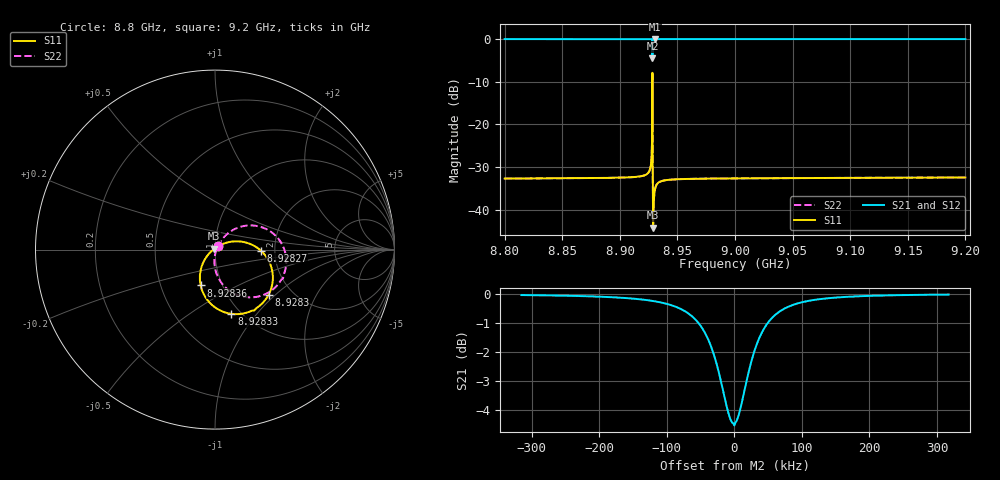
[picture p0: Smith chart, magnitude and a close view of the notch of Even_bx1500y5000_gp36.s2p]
! Sonnet Data File
! From: emgraph Version : 16.52
! From Project: Resonator2
! Data is De-embedded
! Data File Written: 10/04/2017 18:31:03
!< HDATE 10/04/2017 15:54:54
!< MDATE 10/04/2017 15:55:28
!< PARAMS
!< gap = 36.0
!< Length = 400.0
!< END PARAMS
# GHZ S MA R 50.00000
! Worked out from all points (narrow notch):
!   2193 points, 8.8 GHz to 9.2 GHz, reference 50 ohm
!   highest |S21| = 0.00 dB at 8.93055 GHz (marker M1); lowest = -4.5 dB at 8.92831 GHz (marker M2)
!   notch at M2: 4.5 dB deep, 53.9 kHz wide at half that depth
!   lowest |S11| = -44.2 dB at 8.92894 GHz (marker M3), VSWR 1.01, Z = 49.6 + j0.501 ohm
!   |S11| at or under -10 dB: start of sweep to 8.92828 GHz; 8.92834 GHz to end of sweep
!   |S22| runs from -42.4 to -7.7 dB; largest |S21 - S12| = 0
!   S11 on the Smith chart (normalised r, x): 8.8 GHz: 1.03, +0.04; 8.92827 GHz: 1.69, -0.02; 8.9283 GHz: 1.53, -0.91; 8.92833 GHz: 0.91, -0.75; 8.92836 GHz: 0.79, -0.33; 9.2 GHz: 1.03, +0.04
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8.8  0.02319 49.6  0.9997 -40.3  0.9997 -40.3  0.02319 49.9
!< P1 F=8.8 Eeff=(6.44890994 -2.9739e-5) Z0=(51.8068348 1.19496e-4) R=0.0 C=0.0
!< P2 F=8.8 Eeff=(6.44890994 -2.9739e-5) Z0=(51.8068348 1.19496e-4) R=0.0 C=0.0
8.86675  0.02344 49.2  0.9997 -40.6  0.9997 -40.6  0.02344 49.7
8.92475  0.02716 46.3  0.9996 -41.1  0.9996 -41.1  0.02718 51.4
8.927641  0.04378 38.9  0.9984 -42.1  0.9984 -42.1  0.04398 55.4
8.928077  0.08111 29.7  0.9916 -44.2  0.9916 -44.2  0.08198 54.7
8.928187  0.1284 21.1  0.9745 -46.9  0.9745 -46.9  0.1302 49.7
8.928266  0.2557 -1.3  0.8749 -53.4  0.8749 -53.4  0.2602 30.8
8.928304  0.3904 -40.0  0.6321 -49.8  0.6321 -49.8  0.3982 -6.0
8.928315  0.4033 -57.6  0.5927 -39.1  0.5927 -39.1  0.4115 -23.0
8.928327  0.3697 -75.6  0.6561 -29.2  0.6561 -29.2  0.3777 -40.4
8.928363  0.215 -111.8  0.8879 -28.2  0.8879 -28.2  0.2202 -74.3
8.928452  0.0771 -136.4  0.9821 -35.2  0.9821 -35.2  0.07969 -92.1
8.928623  0.0236 -154.8  0.9966 -38.2  0.9966 -38.2  0.02533 -87.8
8.928788  0.009387 177.0  0.9986 -39.2  0.9986 -39.2  0.01115 -64.4
8.928943  0.006169 125.2  0.9992 -39.6  0.9992 -39.6  0.007654 -23.9
8.92957  0.01292 63.9  0.9997 -40.2  0.9997 -40.2  0.01311 34.3
8.930549  0.01738 55.4  0.9998 -40.5  0.9998 -40.5  0.01742 43.2
8.933417  0.02072 51.4  0.9998 -40.7  0.9998 -40.7  0.02073 47.1
9  0.02332 48.9  0.9997 -41.2  0.9997 -41.2  0.02332 48.8
9.06675  0.02355 48.5  0.9997 -41.5  0.9997 -41.5  0.02355 48.5
9.1335  0.02372 48.2  0.9997 -41.8  0.9997 -41.8  0.02372 48.2
9.2  0.02388 47.8  0.9997 -42.1  0.9997 -42.1  0.02388 47.9
